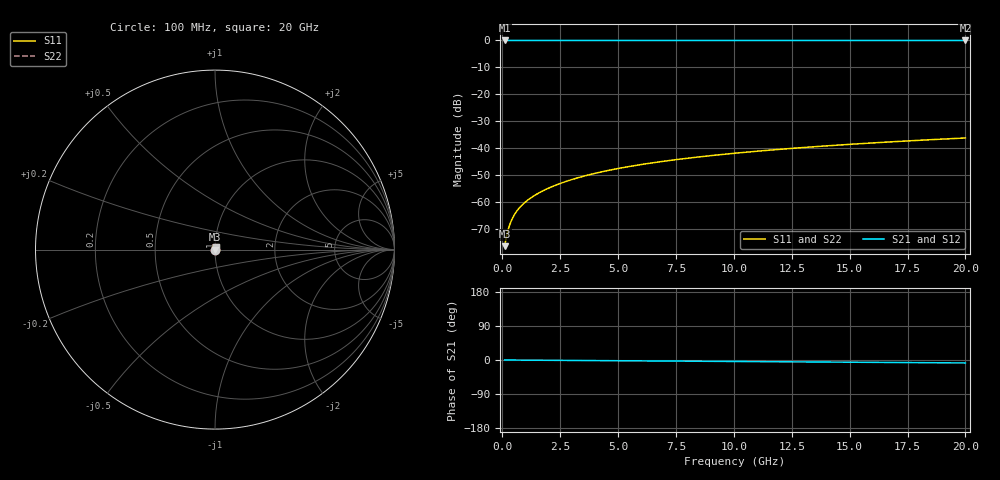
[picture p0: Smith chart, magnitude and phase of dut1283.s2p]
! Touchstone file exported from HFSS 2026.1.0
!  File:  C:/ffzhzh/LocalFiles/Ansys_Project_Files/temp_train_TSV_1283_1783194359_22436.aedt
!  Generated:  03:47:27 AM Jul  5, 2026
!  Design:  TSV
!  Project:  temp_train_TSV_1283_1783194359_22436
! Variables:
!  h_bsmrdl = 2um
!  h_ox = 20um
!  h_rdl = 5um
!  h_sub = 74.34um
!  h_tmrdl = 5um
!  h_tsv = 74.34um
!  h_via = 3um
!  l_bsmrdl = 300um
!  l_sub = 422.34um
!  l_tmrdl = 200um
!  m_sub = 200um
!  pitch = 50.79um
!  r_tsv = 11.17um
!  s_tmrdl = 10um
!  w_bsmrdl = 18um
!  w_sub = 500um
!  w_tmrdl = 12um
!  x_tsv_center1 = 206um
!  x_tsv_center2 = 524um
!  x_tsv_center3 = 736um
!  x_tsv_center4 = 1054um
!  x_tsv_center5 = 1266um
!  x_tsv_center6 = 1584um
# GHz S MA R 50.000000
! Terminal data exported
! Port[1] = TSV1_1_T1
! Port[2] = TSV1_1_T2
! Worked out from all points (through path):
!   200 points, 100 MHz to 20 GHz, reference 50 ohm
!   highest |S21| = 0.00 dB at 100 MHz (marker M1); lowest = 0.0 dB at 20 GHz (marker M2)
!   group delay of S21, straight-line fit = 1.07 ps
!   lowest |S11| = -76.2 dB at 100 MHz (marker M3), VSWR 1.00, Z = 50 + j0.0117 ohm
!   |S11| at or under -10 dB: start of sweep to end of sweep
!   |S22| runs from -76.2 to -36.1 dB; largest |S21 - S12| = 4.9e-15
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0.1  0.0001543 49.1  0.9999 -0.0  0.9999 -0.0  0.0001543 49.1
! Gamma 0 0 0 0
! Port Impedance 50 0 50 0
0.2  0.0002563 64.0  0.9999 -0.1  0.9999 -0.1  0.0002563 64.0
0.3  0.0003635 69.2  0.9999 -0.1  0.9999 -0.1  0.0003635 69.2
0.4  0.0004682 71.4  0.9999 -0.2  0.9999 -0.2  0.0004682 71.4
0.5  0.0005688 72.5  0.9998 -0.2  0.9998 -0.2  0.0005688 72.5
0.6  0.0006649 73.2  0.9998 -0.2  0.9998 -0.2  0.0006649 73.2
0.7  0.0007572 73.6  0.9998 -0.3  0.9998 -0.3  0.0007572 73.6
0.9  0.000933 74.4  0.9998 -0.4  0.9998 -0.4  0.000933 74.4
1.1  0.001101 75.1  0.9997 -0.4  0.9997 -0.4  0.001101 75.1
1.3  0.001266 75.9  0.9997 -0.5  0.9997 -0.5  0.001266 75.9
1.6  0.00151 76.8  0.9997 -0.6  0.9997 -0.6  0.00151 76.8
1.9  0.001753 77.7  0.9996 -0.7  0.9996 -0.7  0.001753 77.7
2.6  0.00232 79.0  0.9996 -1.0  0.9996 -1.0  0.00232 79.0
3.5  0.003046 80.0  0.9995 -1.4  0.9995 -1.4  0.003046 80.0
4.2  0.003605 80.4  0.9995 -1.6  0.9995 -1.6  0.003605 80.4
5  0.004239 80.6  0.9994 -2.0  0.9994 -2.0  0.004239 80.6
6.8  0.005645 80.8  0.9993 -2.6  0.9993 -2.6  0.005645 80.8
8.3  0.006802 80.8  0.9993 -3.2  0.9993 -3.2  0.006802 80.8
10.1  0.008179 80.6  0.9992 -3.9  0.9992 -3.9  0.008179 80.6
13.4  0.01068 80.0  0.999 -5.2  0.999 -5.2  0.01068 80.0
16.7  0.01316 79.2  0.9989 -6.5  0.9989 -6.5  0.01316 79.2
20  0.0156 78.2  0.9988 -7.7  0.9988 -7.7  0.0156 78.2
